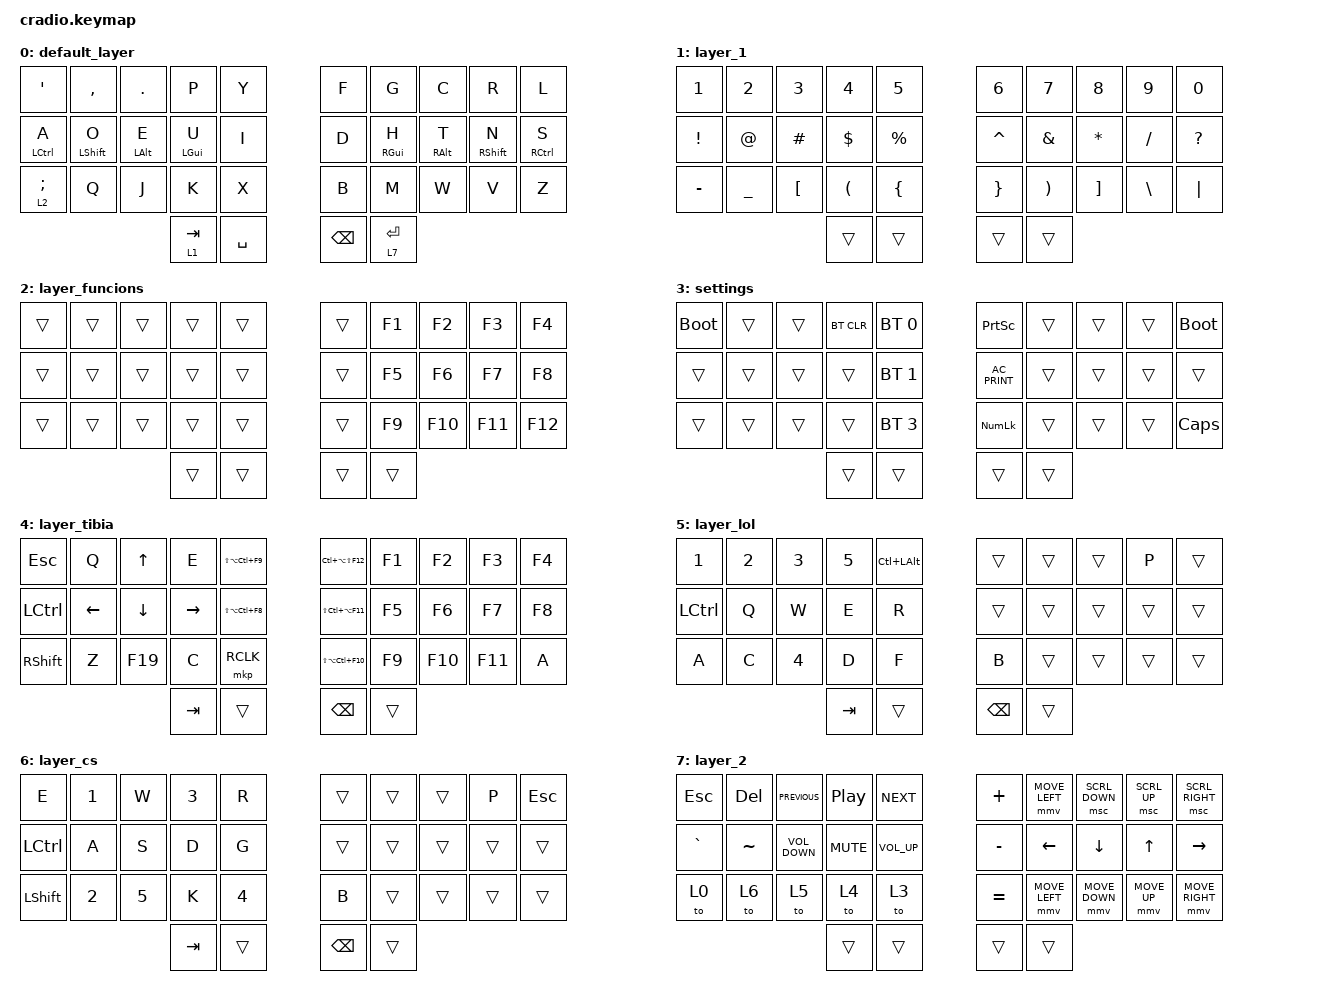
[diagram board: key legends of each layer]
// Copyright (c) 2022 The ZMK Contributors
// SPDX-License-Identifier: MIT
// Cradio home row mod tap keymaps

#include <behaviors.dtsi>
#include <dt-bindings/zmk/bt.h>
#include <dt-bindings/zmk/keys.h>
#include <dt-bindings/zmk/pointing.h>

/ {
    behaviors {
        ht: hold_tap {
            compatible = "zmk,behavior-hold-tap";
            #binding-cells = <2>;
            flavor = "tap-preferred";
            tapping-term-ms = <150>;
            quick-tap-ms = <100>;
            require-prior-idle-ms = <100>;
            bindings = <&kp>, <&kp>;

            hold-trigger-on-release;
        };
    };

    combos { compatible = "zmk,combos"; };

    keymap {
        compatible = "zmk,keymap";

        default_layer {
            bindings = <
&kp SQT      &kp COMMA         &kp PERIOD      &kp P           &kp Y        &kp F          &kp G            &kp C            &kp R              &kp L
&ht LCTRL A  &ht LEFT_SHIFT O  &ht LEFT_ALT E  &ht LEFT_GUI U  &kp I        &kp D          &ht RIGHT_GUI H  &ht RIGHT_ALT T  &ht RIGHT_SHIFT N  &ht RCTRL S
&lt 2 SEMI   &kp Q             &kp J           &kp K           &kp X        &kp B          &kp M            &kp W            &kp V              &kp Z
                                               &lt 1 TAB       &kp SPACE    &kp BACKSPACE  &lt 7 ENTER
            >;
        };

        layer_1 {
            bindings = <
&kp NUMBER_1     &kp NUMBER_2    &kp NUMBER_3      &kp NUMBER_4          &kp N5            &kp NUMBER_6     &kp N7                 &kp N8             &kp N9         &kp N0
&kp EXCLAMATION  &kp AT_SIGN     &kp HASH          &kp DOLLAR            &kp PERCENT       &kp CARET        &kp AMPERSAND          &kp ASTERISK       &kp SLASH      &kp QUESTION
&kp MINUS        &kp UNDERSCORE  &kp LEFT_BRACKET  &kp LEFT_PARENTHESIS  &kp LEFT_BRACE    &kp RIGHT_BRACE  &kp RIGHT_PARENTHESIS  &kp RIGHT_BRACKET  &kp BACKSLASH  &kp PIPE
                                                   &trans                &trans            &trans           &trans
            >;
        };

        layer_funcions {
            bindings = <
&trans  &trans  &trans  &trans  &trans    &trans  &kp F1  &kp F2   &kp F3   &kp F4
&trans  &trans  &trans  &trans  &trans    &trans  &kp F5  &kp F6   &kp F7   &kp F8
&trans  &trans  &trans  &trans  &trans    &trans  &kp F9  &kp F10  &kp F11  &kp F12
                        &trans  &trans    &trans  &trans
            >;
        };

        settings {
            bindings = <
&bootloader  &trans  &trans  &bt BT_CLR  &bt BT_SEL 0    &kp PRINTSCREEN  &trans  &trans  &trans  &bootloader
&trans       &trans  &trans  &trans      &bt BT_SEL 1    &kp C_AC_PRINT   &trans  &trans  &trans  &trans
&trans       &trans  &trans  &trans      &bt BT_SEL 3    &kp KP_NUMLOCK   &trans  &trans  &trans  &kp CAPSLOCK
                             &trans      &trans          &trans           &trans
            >;
        };

        layer_tibia {
            bindings = <
&kp ESC           &kp Q           &kp UP_ARROW    &kp E            &kp LS(LA(LC(F9)))    &kp LC(LA(LS(F12)))  &kp F1  &kp F2   &kp F3   &kp F4
&kp LEFT_CONTROL  &kp LEFT_ARROW  &kp DOWN_ARROW  &kp RIGHT_ARROW  &kp LS(LA(LC(F8)))    &kp LS(LC(LA(F11)))  &kp F5  &kp F6   &kp F7   &kp F8
&kp RIGHT_SHIFT   &kp Z           &kp F19         &kp C            &mkp RCLK             &kp LS(LA(LC(F10)))  &kp F9  &kp F10  &kp F11  &kp A
                                                  &kp TAB          &trans                &kp BACKSPACE        &trans
            >;
        };

        layer_lol {
            bindings = <
&kp NUMBER_1      &kp NUMBER_2  &kp NUMBER_3  &kp NUMBER_5  &kp LC(LEFT_ALT)    &trans         &trans  &trans  &kp P   &trans
&kp LEFT_CONTROL  &kp Q         &kp W         &kp E         &kp R               &trans         &trans  &trans  &trans  &trans
&kp A             &kp C         &kp NUMBER_4  &kp D         &kp F               &kp B          &trans  &trans  &trans  &trans
                                              &kp TAB       &trans              &kp BACKSPACE  &trans
            >;
        };

        layer_cs {
            bindings = <
&kp E             &kp NUMBER_1  &kp W         &kp NUMBER_3  &kp R           &trans         &trans  &trans  &kp P   &kp ESCAPE
&kp LEFT_CONTROL  &kp A         &kp S         &kp D         &kp G           &trans         &trans  &trans  &trans  &trans
&kp LEFT_SHIFT    &kp NUMBER_2  &kp NUMBER_5  &kp K         &kp NUMBER_4    &kp B          &trans  &trans  &trans  &trans
                                              &kp TAB       &trans          &kp BACKSPACE  &trans
            >;
        };

        layer_2 {
            bindings = <
&kp ESC    &kp DELETE  &kp C_PREVIOUS     &kp C_PLAY_PAUSE  &kp C_NEXT         &kp PLUS   &mmv MOVE_LEFT  &msc SCRL_DOWN  &msc SCRL_UP  &msc SCRL_RIGHT
&kp GRAVE  &kp TILDE   &kp C_VOLUME_DOWN  &kp K_MUTE        &kp C_VOLUME_UP    &kp MINUS  &kp LEFT        &kp DOWN        &kp UP_ARROW  &kp RIGHT
&to 0      &to 6       &to 5              &to 4             &to 3              &kp EQUAL  &mmv MOVE_LEFT  &mmv MOVE_DOWN  &mmv MOVE_UP  &mmv MOVE_RIGHT
                                          &trans            &trans             &trans     &trans
            >;
        };
    };
};
